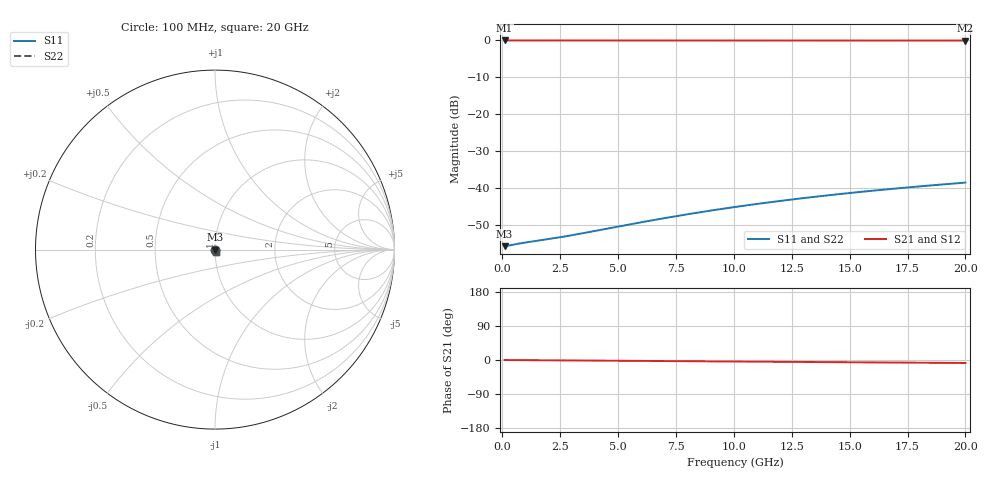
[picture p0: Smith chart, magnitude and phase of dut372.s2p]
! Touchstone file exported from HFSS 2026.1.0
!  File:  C:/ffzhzh/LocalFiles/Ansys_Project_Files/temp_train_TSV_372_1783019565_51716.aedt
!  Generated:  03:15:10 AM Jul  3, 2026
!  Design:  TSV
!  Project:  temp_train_TSV_372_1783019565_51716
! Variables:
!  h_bsmrdl = 2um
!  h_ox = 20um
!  h_rdl = 5um
!  h_sub = 87.17um
!  h_tmrdl = 5um
!  h_tsv = 87.17um
!  h_via = 3um
!  l_bsmrdl = 300um
!  l_sub = 404.94um
!  l_tmrdl = 200um
!  m_sub = 200um
!  pitch = 9.27um
!  r_tsv = 2.47um
!  s_tmrdl = 10um
!  w_bsmrdl = 18um
!  w_sub = 500um
!  w_tmrdl = 12um
!  x_tsv_center1 = 206um
!  x_tsv_center2 = 524um
!  x_tsv_center3 = 736um
!  x_tsv_center4 = 1054um
!  x_tsv_center5 = 1266um
!  x_tsv_center6 = 1584um
# GHz S MA R 50.000000
! Terminal data exported
! Port[1] = TSV1_1_T1
! Port[2] = TSV1_1_T2
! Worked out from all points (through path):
!   200 points, 100 MHz to 20 GHz, reference 50 ohm
!   highest |S21| = -0.01 dB at 100 MHz (marker M1); lowest = 0.0 dB at 20 GHz (marker M2)
!   group delay of S21, straight-line fit = 1.1 ps
!   lowest |S11| = -55.7 dB at 100 MHz (marker M3), VSWR 1.00, Z = 50.2 - j0.000398 ohm
!   |S11| at or under -10 dB: start of sweep to end of sweep
!   |S22| runs from -55.7 to -38.5 dB; largest |S21 - S12| = 1.1e-15
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0.1  0.001648 -0.1  0.9984 -0.0  0.9984 -0.0  0.001648 -0.1
! Gamma 0 0 0 0
! Port Impedance 50 0 50 0
0.3  0.001683 -0.9  0.9983 -0.1  0.9983 -0.1  0.001683 -0.9
0.6  0.001757 -3.6  0.9982 -0.2  0.9982 -0.2  0.001757 -3.6
0.9  0.001825 -7.2  0.9982 -0.4  0.9982 -0.4  0.001825 -7.2
1.9  0.002031 -19.0  0.9981 -0.8  0.9981 -0.8  0.002031 -19.0
2.4  0.002151 -24.1  0.998 -1.0  0.998 -1.0  0.002151 -24.1
2.9  0.002287 -28.6  0.998 -1.2  0.998 -1.2  0.002287 -28.6
3.5  0.002474 -33.3  0.9979 -1.4  0.9979 -1.4  0.002474 -33.3
5.6  0.003288 -45.2  0.9976 -2.3  0.9976 -2.3  0.003288 -45.2
6.8  0.003845 -49.9  0.9974 -2.7  0.9974 -2.7  0.003845 -49.9
7.6  0.004245 -52.4  0.9972 -3.1  0.9972 -3.1  0.004245 -52.4
8.4  0.004665 -54.7  0.9971 -3.4  0.9971 -3.4  0.004665 -54.7
9.2  0.005103 -56.7  0.9969 -3.7  0.9969 -3.7  0.005103 -56.7
10.1  0.005614 -58.7  0.9967 -4.0  0.9967 -4.0  0.005614 -58.7
10.9  0.006082 -60.4  0.9966 -4.4  0.9966 -4.4  0.006082 -60.4
11.7  0.006562 -61.9  0.9964 -4.7  0.9964 -4.7  0.006561 -61.9
12.5  0.007051 -63.3  0.9963 -5.0  0.9963 -5.0  0.007051 -63.3
13.4  0.007612 -64.8  0.9961 -5.3  0.9961 -5.3  0.007612 -64.8
15  0.008631 -67.3  0.9958 -6.0  0.9958 -6.0  0.008631 -67.3
16.7  0.009737 -69.6  0.9955 -6.6  0.9955 -6.6  0.009737 -69.6
18.3  0.01079 -71.6  0.9953 -7.2  0.9953 -7.2  0.01079 -71.6
20  0.01193 -73.6  0.995 -7.9  0.995 -7.9  0.01193 -73.6
